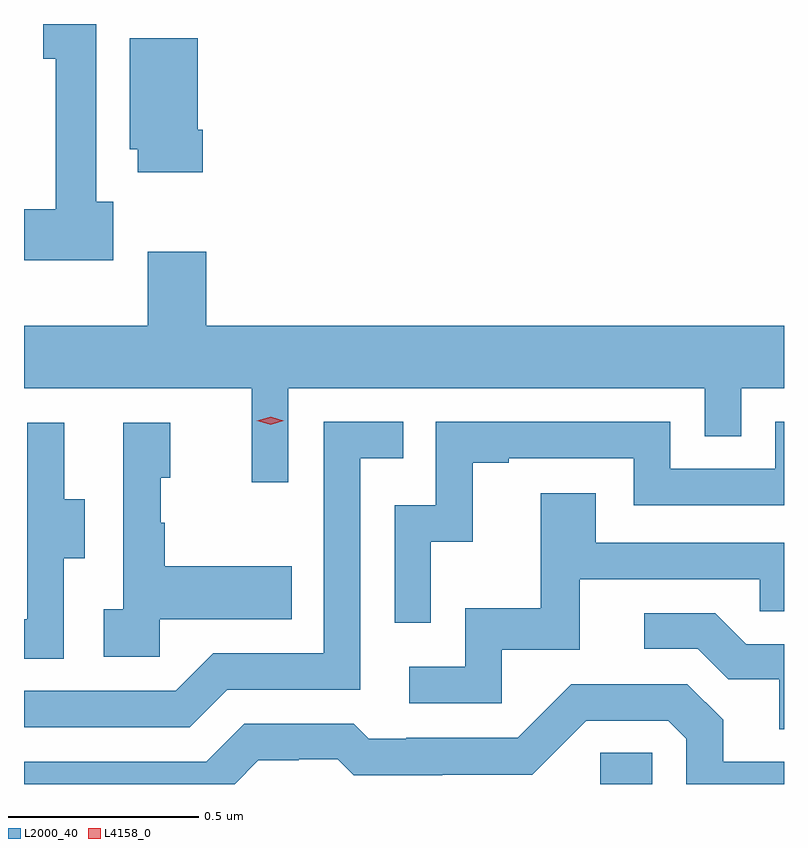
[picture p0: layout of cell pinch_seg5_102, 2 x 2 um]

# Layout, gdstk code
import gdstk
lib = gdstk.Library(unit=1e-6, precision=1e-09)
def R(c, l, rs):  # rectangles x0, y0, x1, y1
    for r in rs: c.add(gdstk.rectangle(r[:2], r[2:], *l))
def P(c, l, *ps):  # polygons
    for p in ps: c.add(gdstk.Polygon(p, *l))
L2000_40 = (2000, 40)
L4158_0 = (4158, 0)

pinch_seg5_102 = lib.new_cell('pinch_seg5_102')
R(pinch_seg5_102, L2000_40, [(1072.321,903.67,1072.458,903.752)])
P(pinch_seg5_102, L2000_40, [(1071.04,905.202),(1070.995,905.202),(1070.995,905.67),(1070.855,905.67),(1070.855,905.579),(1070.888,905.579),(1070.888,905.182),(1070.805,905.182),(1070.805,905.048),(1071.04,905.048)],
  [(1071.275,905.392),(1071.262,905.392),(1071.262,905.632),(1071.083,905.632),(1071.083,905.34),(1071.104,905.34),(1071.104,905.28),(1071.275,905.28)],
  [(1071.501,904.712),(1072.596,904.712),(1072.596,904.585),(1072.692,904.585),(1072.692,904.712),(1072.805,904.712),(1072.805,904.876),(1071.284,904.876),(1071.284,905.071),(1071.131,905.071),(1071.131,904.876),(1070.805,904.876),(1070.805,904.712),(1071.404,904.712),(1071.404,904.464),(1071.501,904.464)],
  [(1071.876,904.307),(1071.986,904.307),(1071.986,904.515),(1072.081,904.515),(1072.081,904.527),(1072.41,904.527),(1072.41,904.404),(1072.805,904.404),(1072.805,904.623),(1072.782,904.623),(1072.782,904.5),(1072.506,904.5),(1072.506,904.623),(1071.888,904.623),(1071.888,904.404),(1071.78,904.404),(1071.78,904.095),(1071.876,904.095)],
  [(1071.34,903.918),(1071.69,903.918),(1071.69,904.527),(1071.803,904.527),(1071.803,904.623),(1071.594,904.623),(1071.594,904.014),(1071.303,904.014),(1071.204,903.915),(1070.805,903.915),(1070.805,903.819),(1071.241,903.819)],
  [(1071.162,904.103),(1071.509,904.103),(1071.509,904.243),(1071.175,904.243),(1071.175,904.358),(1071.165,904.358),(1071.165,904.476),(1071.19,904.476),(1071.19,904.621),(1071.066,904.621),(1071.066,904.13),(1071.015,904.13),(1071.015,904.005),(1071.162,904.005)],
  [(1070.91,904.264),(1070.965,904.264),(1070.965,904.419),(1070.911,904.419),(1070.911,904.621),(1070.813,904.621),(1070.813,904.407),(1070.814,904.407),(1070.814,904.103),(1070.805,904.103),(1070.805,904),(1070.91,904)],
  [(1072.062,904.023),(1072.267,904.023),(1072.267,904.209),(1072.741,904.209),(1072.741,904.125),(1072.805,904.125),(1072.805,904.305),(1072.309,904.305),(1072.309,904.435),(1072.165,904.435),(1072.165,904.132),(1071.966,904.132),(1071.966,903.978),(1071.819,903.978),(1071.819,903.882),(1072.062,903.882)],
  [(1072.805,904.038),(1072.705,904.038),(1072.624,904.119),(1072.437,904.119),(1072.437,904.026),(1072.578,904.026),(1072.658,903.946),(1072.793,903.946),(1072.793,903.814),(1072.805,903.814)],
  [(1071.421,903.732),(1071.528,903.732),(1071.528,903.735),(1071.631,903.735),(1071.673,903.693),(1071.906,903.693),(1071.906,903.695),(1072.142,903.695),(1072.284,903.837),(1072.5,903.837),(1072.548,903.789),(1072.548,903.67),(1072.805,903.67),(1072.805,903.729),(1072.645,903.729),(1072.645,903.839),(1072.551,903.933),(1072.245,903.933),(1072.104,903.792),(1071.811,903.792),(1071.811,903.789),(1071.712,903.789),(1071.673,903.828),(1071.384,903.828),(1071.285,903.729),(1070.805,903.729),(1070.805,903.67),(1071.359,903.67)])
P(pinch_seg5_102, L4158_0, [(1071.454,904.616),(1071.418,904.626),(1071.418,904.626),(1071.418,904.626),(1071.454,904.636),(1071.489,904.626),(1071.489,904.626),(1071.489,904.626)])

lib.write_gds('pinch_seg5_102.gds')
